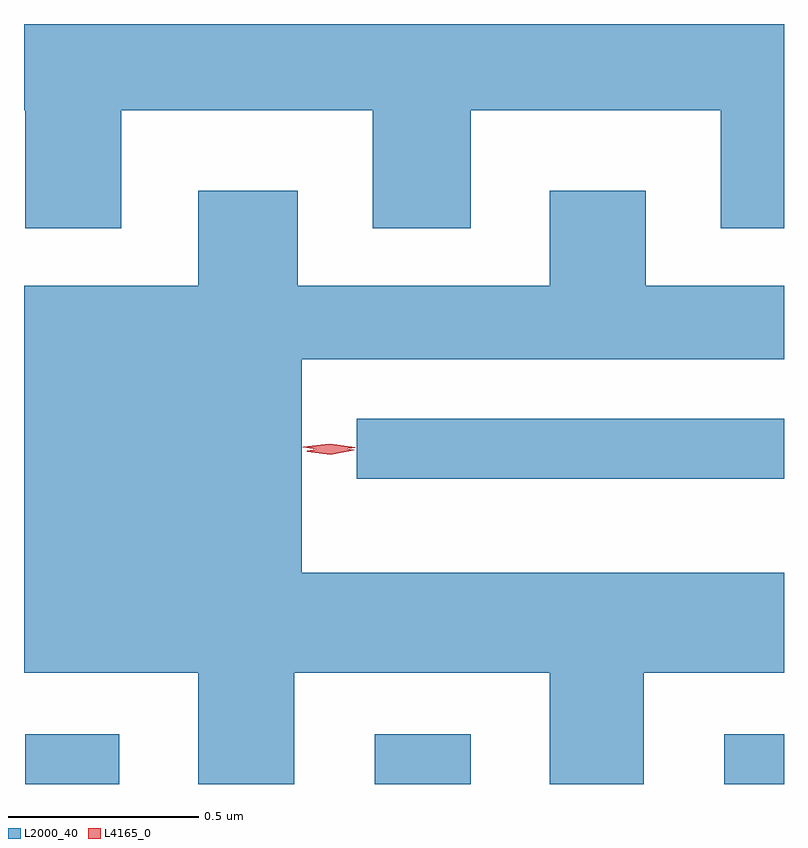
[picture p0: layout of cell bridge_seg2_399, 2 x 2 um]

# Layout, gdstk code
import gdstk
lib = gdstk.Library(unit=1e-6, precision=1e-09)
def R(c, l, rs):  # rectangles x0, y0, x1, y1
    for r in rs: c.add(gdstk.rectangle(r[:2], r[2:], *l))
def P(c, l, *ps):  # polygons
    for p in ps: c.add(gdstk.Polygon(p, *l))
L2000_40 = (2000, 40)
L4165_0 = (4165, 0)

bridge_seg2_399 = lib.new_cell('bridge_seg2_399')
R(bridge_seg2_399, L2000_40, [(645.961,1035.443,646.209,1035.574), (646.881,1035.443,647.134,1035.574), (647.801,1035.443,647.958,1035.574), (646.833,1036.246,647.958,1036.404)])
P(bridge_seg2_399, L2000_40, [(646.214,1037.216),(646.876,1037.216),(646.876,1036.906),(647.134,1036.906),(647.134,1037.216),(647.791,1037.216),(647.791,1036.906),(647.958,1036.906),(647.958,1037.443),(645.958,1037.443),(645.958,1037.216),(645.961,1037.216),(645.961,1036.906),(646.214,1036.906)],
  [(646.669,1035.736),(647.341,1035.736),(647.341,1035.443),(647.589,1035.443),(647.589,1035.736),(647.958,1035.736),(647.958,1035.999),(646.689,1035.999),(646.689,1036.561),(647.958,1036.561),(647.958,1036.754),(647.594,1036.754),(647.594,1037.004),(647.341,1037.004),(647.341,1036.754),(646.679,1036.754),(646.679,1037.004),(646.416,1037.004),(646.416,1036.754),(645.958,1036.754),(645.958,1035.736),(646.416,1035.736),(646.416,1035.443),(646.669,1035.443)])
P(bridge_seg2_399, L4165_0, [(646.761,1036.319),(646.693,1036.329),(646.692,1036.329),(646.693,1036.33),(646.762,1036.339),(646.83,1036.329),(646.83,1036.329),(646.83,1036.328)],
  [(646.765,1036.31),(646.703,1036.318),(646.702,1036.319),(646.703,1036.32),(646.764,1036.33),(646.826,1036.322),(646.827,1036.321),(646.826,1036.321)])

lib.write_gds('bridge_seg2_399.gds')
